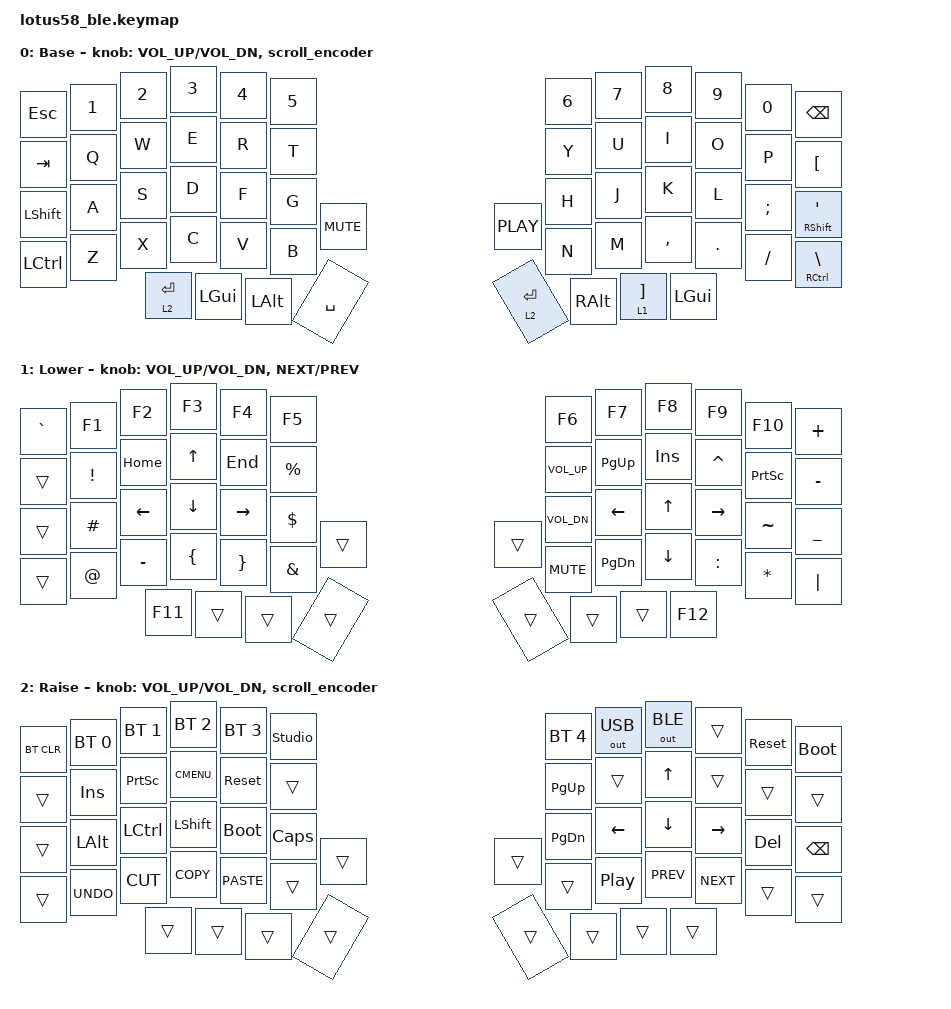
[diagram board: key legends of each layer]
/*
 * Copyright (c) 2022 The ZMK Contributors
 *
 * SPDX-License-Identifier: MIT
 */

#define ZMK_POINTING_DEFAULT_SCRL_VAL 140

#include <behaviors.dtsi>
#include <dt-bindings/zmk/keys.h>
#include <dt-bindings/zmk/bt.h>
#include <dt-bindings/zmk/outputs.h>
#include <dt-bindings/zmk/pointing.h>
#include <input/processors.dtsi>

/ {
    // combos {
    //     compatible = "zmk,combos";
    //     combo_dsklg {
    //         timeout-ms = <100>;
    //         key-positions = <24 52>;
    //         layers = <0>;
    //         bindings = <&kp LGUI>;
    //     };
    // };

    behaviors {
        scroll_encoder: scroll_encoder {
            compatible = "zmk,behavior-sensor-rotate";
            #sensor-binding-cells = <0>;
            bindings = <&msc SCRL_DOWN>, <&msc SCRL_UP>;
            tap-ms = <20>;
        };
    };

    keymap {
        compatible = "zmk,keymap";

        default_layer {
            display-name = "Base";
//   ------------------------------------------------------------------------------------------------------------
//  0|  ESC  |  1  |  2  |  3   |  4   |  5   |                     |  6   |  7    |  8    |  9   |   0   |   =   | 11
// 12|  TAB  |  Q  |  W  |  E   |  R   |  T   |                     |  Y   |  U    |  I    |  O   |   P   |   [   | 23
// 24|  SFT  |  A  |  S  |  D   |  F   |  G   |  RESET  |  | RESET  |  H   |  J    |  K    |  L   |   ;   | ' SFT | 37
// 38|  CTRL |  Z  |  X  |  C   |  V   |  B   |  MUTE   |  | PLAY   |  N   |  M    |  ,    |  .   |   /   | \ CTRL| 51
// 52                    |ENT RS|  ALT | SPACE|DELETE LW|  |ENTER RS| BSPC |  ] LW | RGUI  |                        59
            bindings = <
&kp ESC   &kp N1 &kp N2 &kp N3    &kp N4   &kp N5                         &kp N6   &kp N7     &kp N8    &kp N9  &kp N0   &kp BSPC
&kp TAB   &kp Q  &kp W  &kp E     &kp R    &kp T                          &kp Y    &kp U      &kp I     &kp O   &kp P    &kp LBKT
&kp LSHFT &kp A  &kp S  &kp D     &kp F    &kp G                          &kp H    &kp J      &kp K     &kp L   &kp SEMI &mt RSHFT SQT
&kp LCTRL &kp Z  &kp X  &kp C     &kp V    &kp B    &kp C_MUTE &kp C_PLAY &kp N    &kp M      &kp COMMA &kp DOT &kp FSLH &mt RCTRL BSLH
                        &lt 2 RET &kp LGUI &kp LALT &kp SPACE  &lt 2 RET  &kp RALT &lt 1 RBKT &kp LGUI
            >;

            sensor-bindings = <&inc_dec_kp C_VOL_UP C_VOL_DN &scroll_encoder>;
        };

        lower_layer {
            display-name = "Lower";
// ------------------------------------------------------------------------------------------------------------
// | `     |  F1 |  F2 |  F3  |  F4  |  F5  |                   |  F6  |  F7   |  F8   |  F9  |  F10  |  F11  |
// |       |  !  | HOME|   ^  |  END |  %   |                   | VOL^ |  PGUP |  INS  |  ^   |  PSCR |   -   |
// |       |  #  |  <- |   v  | ->   |  $   |        |  |       | VOLv |    <- |   ^   |  ->  |   ~   |   _   |
// |       |  @  |  -  |  (   |  )   |  &   |        |  |       | MUTE |  PGDN |   v   |  :   |   *   |   |   |
//                     |  F11 |      |      |        |  |       |      |       |  F12  |
            bindings = <
&kp GRAVE &kp F1    &kp F2    &kp F3   &kp F4    &kp F5                    &kp F6       &kp F7    &kp F8   &kp F9    &kp F10   &kp PLUS
&trans    &kp EXCL  &kp HOME  &kp UP   &kp END   &kp PRCNT                 &kp C_VOL_UP &kp PG_UP &kp INS  &kp CARET &kp PSCRN &kp MINUS
&trans    &kp HASH  &kp LEFT  &kp DOWN &kp RIGHT &kp DLLR                  &kp C_VOL_DN &kp LEFT  &kp UP   &kp RIGHT &kp TILDE &kp UNDER
&trans    &kp AT    &kp MINUS &kp LBRC &kp RBRC  &kp AMPS  &trans   &trans &kp C_MUTE   &kp PG_DN &kp DOWN &kp COLON &kp STAR  &kp PIPE
                              &kp F11  &trans    &trans    &trans   &trans &trans       &trans    &kp F12
            >;

            sensor-bindings = <&inc_dec_kp C_VOL_UP C_VOL_DN &inc_dec_kp C_NEXT C_PREV>;
        };

        raise_layer {
            display-name = "Raise";
// ------------------------------------------------------------------------------------------------------------
// |BTCLR| BT1  | BT2  |  BT3  |  BT4  |ST_UN |                |OUTTOG|OUTUSB| OUTBT |      | RESET | FLASH |
// |     | INS  | PSCR | GUI   | RESET |      |                | PGUP |      |   ^   |      |       |       |
// |     | ALT  | CTRL | SHIFT | FLASH | CAPS |      |  |      | PGDN |   <- |   v   |  ->  |  DEL  | BSPC  |
// |     | UNDO | CUT  | COPY  | PASTE |      |      |  |      |      |  |>  |  <|<| | |>|> |       |       |
//                     |       |       |      |      |  |      |      |      |       |
            bindings = <
&bt BT_CLR &bt BT_SEL 0 &bt BT_SEL 1 &bt BT_SEL 2 &bt BT_SEL 3 &studio_unlock                    &bt BT_SEL 4  &out OUT_USB  &out OUT_BLE  &trans     &sys_reset  &bootloader
&trans     &kp INS      &kp PSCRN    &kp K_CMENU  &sys_reset   &trans                          &kp PG_UP     &trans        &kp UP        &trans     &trans  &trans
&trans     &kp LALT     &kp LCTRL    &kp LSHFT    &bootloader  &kp CLCK                        &kp PG_DN     &kp LEFT      &kp DOWN      &kp RIGHT  &kp DEL &kp BSPC
&trans     &kp K_UNDO   &kp K_CUT    &kp K_COPY   &kp K_PASTE  &trans       &trans   &trans    &trans        &kp C_PP      &kp C_PREV    &kp C_NEXT &trans  &trans
                                     &trans       &trans       &trans       &trans   &trans    &trans        &trans        &trans
            >;

            sensor-bindings = <&inc_dec_kp C_VOL_UP C_VOL_DN &scroll_encoder>;
        };

        extra1 {
            status = "reserved";
        };

        extra2 {
            status = "reserved";
        };
    };

};

&msc_input_listener {
	input-processors = <&zip_scroll_scaler 1 2>;
};

&sensors {
	left_encoder {};
	right_encoder {
		triggers-per-rotation = <30>;
	};
};
